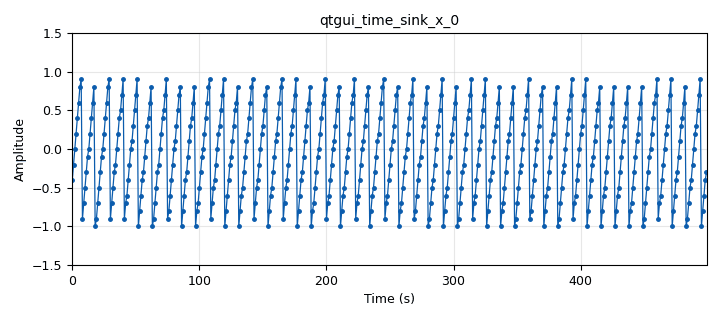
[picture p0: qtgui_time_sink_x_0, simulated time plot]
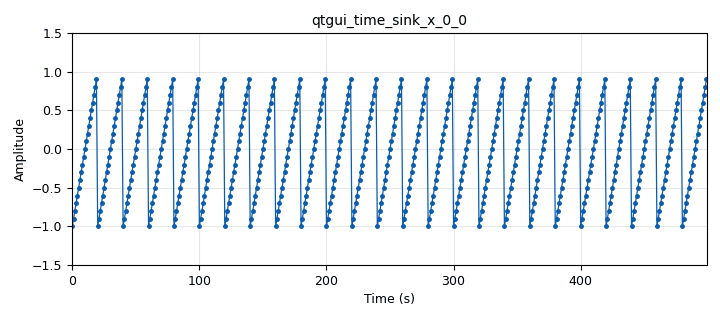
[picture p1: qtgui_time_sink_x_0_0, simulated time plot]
<?xml version='1.0' encoding='utf-8'?>
<?grc format='1' created='3.7.9'?>
<flow_graph>
<block>
<key>options</key>
<param><key>id</key><value>test_tag_prop</value></param>
<param><key>category</key><value>Custom</value></param>
<param><key>generate_options</key><value>qt_gui</value></param>
</block>
<block>
<key>variable</key>
<param><key>id</key><value>samp_rate</value></param>
<param><key>value</key><value>8000</value></param>
</block>
<block>
<key>variable_tag_object</key>
<param><key>id</key><value>tag0</value></param>
<param><key>key</key><value>pmt.intern("mark")</value></param>
<param><key>offset</key><value>0</value></param>
<param><key>src</key><value>pmt.intern("src")</value></param>
<param><key>value</key><value>pmt.PMT_T</value></param>
</block>
<block>
<key>blocks_test_tag_variable_rate_ff</key>
<param><key>id</key><value>blocks_test_tag_variable_rate_ff_0</value></param>
<param><key>once</key><value>False</value></param>
<param><key>step</key><value>0.001</value></param>
</block>
<block>
<key>blocks_throttle</key>
<param><key>id</key><value>blocks_throttle_0</value></param>
<param><key>samples_per_second</key><value>samp_rate</value></param>
<param><key>type</key><value>float</value></param>
</block>
<block>
<key>blocks_vector_source_x</key>
<param><key>id</key><value>blocks_vector_source_x_0_0</value></param>
<param><key>_enabled</key><value>0</value></param>
<param><key>type</key><value>float</value></param>
<param><key>repeat</key><value>True</value></param>
<param><key>tags</key><value>[tag0, ]</value></param>
<param><key>vector</key><value>scipy.arange(-1, 1, 0.01)</value></param>
</block>
<block>
<key>blocks_vector_source_x</key>
<param><key>id</key><value>blocks_vector_source_x_0_0_0</value></param>
<param><key>type</key><value>float</value></param>
<param><key>repeat</key><value>True</value></param>
<param><key>tags</key><value>[tag0, ]</value></param>
<param><key>vector</key><value>scipy.arange(-1, 1, 0.1)</value></param>
</block>
<block>
<key>import</key>
<param><key>id</key><value>import_scipy</value></param>
<param><key>import</key><value>import scipy</value></param>
</block>
<block>
<key>qtgui_time_sink_x</key>
<param><key>id</key><value>qtgui_time_sink_x_0</value></param>
<param><key>gui_hint</key><value>0,0,1,1</value></param>
<param><key>legend</key><value>False</value></param>
<param><key>color1</key><value>"blue"</value></param>
<param><key>label1</key><value></value></param>
<param><key>marker1</key><value>0</value></param>
<param><key>size</key><value>500</value></param>
<param><key>srate</key><value>1</value></param>
<param><key>type</key><value>float</value></param>
<param><key>ymax</key><value>1.5</value></param>
<param><key>ymin</key><value>-1.5</value></param>
</block>
<block>
<key>qtgui_time_sink_x</key>
<param><key>id</key><value>qtgui_time_sink_x_0_0</value></param>
<param><key>gui_hint</key><value>1,0,1,1</value></param>
<param><key>legend</key><value>False</value></param>
<param><key>color1</key><value>"blue"</value></param>
<param><key>label1</key><value></value></param>
<param><key>marker1</key><value>0</value></param>
<param><key>size</key><value>500</value></param>
<param><key>srate</key><value>1</value></param>
<param><key>type</key><value>float</value></param>
<param><key>ymax</key><value>1.5</value></param>
<param><key>ymin</key><value>-1.5</value></param>
</block>
<connection><source_block_id>blocks_test_tag_variable_rate_ff_0</source_block_id><sink_block_id>qtgui_time_sink_x_0</sink_block_id><source_key>0</source_key><sink_key>0</sink_key></connection>
<connection><source_block_id>blocks_throttle_0</source_block_id><sink_block_id>blocks_test_tag_variable_rate_ff_0</sink_block_id><source_key>0</source_key><sink_key>0</sink_key></connection>
<connection><source_block_id>blocks_throttle_0</source_block_id><sink_block_id>qtgui_time_sink_x_0_0</sink_block_id><source_key>0</source_key><sink_key>0</sink_key></connection>
<connection><source_block_id>blocks_vector_source_x_0_0</source_block_id><sink_block_id>blocks_throttle_0</sink_block_id><source_key>0</source_key><sink_key>0</sink_key></connection>
<connection><source_block_id>blocks_vector_source_x_0_0_0</source_block_id><sink_block_id>blocks_throttle_0</sink_block_id><source_key>0</source_key><sink_key>0</sink_key></connection>
</flow_graph>
